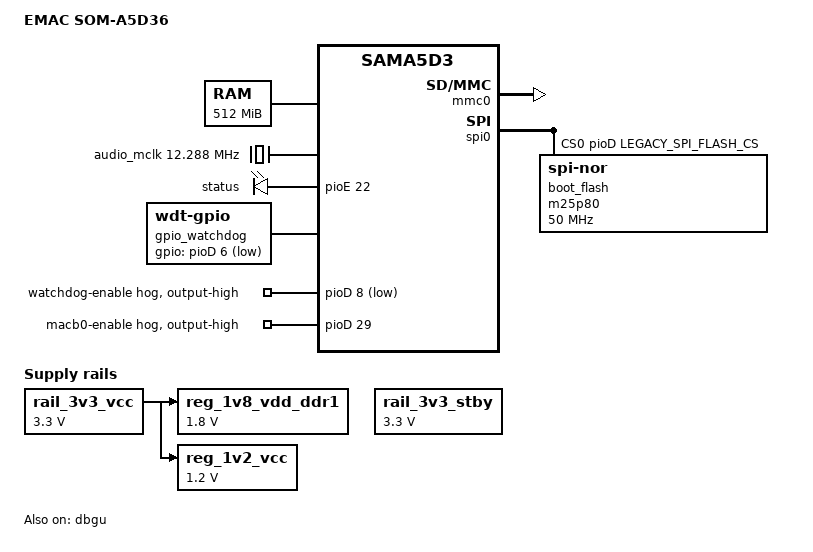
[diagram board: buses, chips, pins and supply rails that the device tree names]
// SPDX-License-Identifier: GPL-2.0-or-later
/*
 * som-a5d36-bare.dtsi - Device Tree Include file for the SOM-A5D36.
 *
 * Copyright (C) 2023 EMAC Inc.
 *
 */

#include "sama5d36.dtsi"
#include <dt-bindings/gpio/gpio.h>

#define LEGACY_SPI_FLASH_CS 	13
#define CURRENT_SPI_FLASH_CS 	14

/ {
	model = "EMAC SOM-A5D36";
	compatible = "emac,soma5d36", "atmel,sama5d36", "atmel,sama5d3", "atmel,sama5";

	chosen {
		stdout-path = &dbgu;
	};

	// 512 MB RAM
	memory@20000000 {
		reg = <0x20000000 0x20000000>;
	};

	clocks {
		#address-cells = <1>;
		#size-cells = <1>;
		ranges;

		slow_xtal {
			clock-frequency = <32768>;
		};

		main_xtal {
			clock-frequency = <12000000>;
		};

		audio_mclk: audio_mclk {
			compatible = "fixed-clock";
			#clock-cells = <0>;
			clock-frequency = <12288000>;
			clock-output-names = "audio-clk";
			gpios = <&pioC 19 GPIO_ACTIVE_HIGH>;
		};

		eth_phy_clk: eth_phy_clk {
			compatible = "fixed-clock";
			#clock-cells = <0>;
			clock-frequency = <25000000>;
			clock-output-names = "phy-clk";
		};
	};

	leds {
		compatible = "gpio-leds";
		status {
			label = "status";
			gpios = <&pioE 22 GPIO_ACTIVE_HIGH>;
			default-state = "on";
		};
	};

	regulators {
		compatible = "simple-bus";
		#address-cells = <1>;
		#size-cells = <0>;

		reg_1v8_vdd_ddr1: reg_1v8_vdd_ddr1 {
			compatible = "regulator-fixed";
			regulator-name = "1V8_VDD_DDR1";
			regulator-min-microvolt = <1800000>;
			regulator-max-microvolt = <1800000>;
			regulator-always-on;
			vin-supply = <&rail_3v3_vcc>;
		};
		reg_1v2_vcc: reg_1v2_vcc {
			compatible = "regulator-fixed";
			regulator-name = "1V2_VCC";
			regulator-min-microvolt = <1200000>;
			regulator-max-microvolt = <1200000>;
			regulator-always-on;
			vin-supply = <&rail_3v3_vcc>;
		};
		rail_3v3_vcc: rail_3v3_vcc {
			compatible = "regulator-fixed";
			regulator-name = "3V3_VCC";
			regulator-min-microvolt = <3300000>;
			regulator-max-microvolt = <3300000>;
			regulator-always-on;
		};
		rail_3v3_stby: rail_3v3_stby {
			compatible = "regulator-fixed";
			regulator-name = "3V3_STBY";
			regulator-min-microvolt = <3300000>;
			regulator-max-microvolt = <3300000>;
			regulator-always-on;
		};
	};

	gpio_watchdog: watchdog {
		/* MAX6747 */
		compatible = "linux,wdt-gpio";
		pinctrl-names = "default";
		pinctrl-0 = <&pinctrl_watchdog>;
		gpios = <&pioD 6 GPIO_ACTIVE_LOW>;
		hw_algo = "level";
		hw_margin_ms = <1000>;
		status = "disabled";
	};
};

&{/ahb/apb/pinctrl@fffff200} {
	watchdog {
		pinctrl_watchdog: pinctrl_watchdog {
			atmel,pins =
				<AT91_PIOD 6 AT91_PERIPH_GPIO AT91_PINCTRL_PULL_UP>;
		};
	};
	usba {
		pinctrl_usba_vbus: pinctrl_usba_vbus {
			atmel,pins =
				<AT91_PIOC 27 AT91_PERIPH_GPIO AT91_PINCTRL_DEGLITCH>;
		};
	};
	spi0 {
		pinctrl_spi0_cs0: spi0-cs0-0 {
			atmel,pins =
				<AT91_PIOD LEGACY_SPI_FLASH_CS AT91_PERIPH_GPIO AT91_PINCTRL_NONE>;
		};
	};
	macb0 {
		pinctrl_macb0_data_mii: macb0_data_mii {
			atmel,pins =
				<AT91_PIOB 0 AT91_PERIPH_A AT91_PINCTRL_NONE	/* PB0 periph A GTX0, conflicts with PWMH0 */
				AT91_PIOB 1 AT91_PERIPH_A AT91_PINCTRL_NONE	/* PB1 periph A GTX1, conflicts with PWML0 */
				AT91_PIOB 2 AT91_PERIPH_A AT91_PINCTRL_NONE	/* PB2 periph A GTX2, conflicts with TK1 */
				AT91_PIOB 3 AT91_PERIPH_A AT91_PINCTRL_NONE	/* PB3 periph A GTX3, conflicts with TF1 */
				AT91_PIOB 4 AT91_PERIPH_A AT91_PINCTRL_NONE	/* PB4 periph A GRX0, conflicts with PWMH1 */
				AT91_PIOB 5 AT91_PERIPH_A AT91_PINCTRL_NONE	/* PB5 periph A GRX1, conflicts with PWML1 */
				AT91_PIOB 6 AT91_PERIPH_A AT91_PINCTRL_NONE	/* PB6 periph A GRX2, conflicts with TD1 */
				AT91_PIOB 7 AT91_PERIPH_A AT91_PINCTRL_NONE>;	/* PB7 periph A GRX3, conflicts with RK1 */
		};
		pinctrl_macb0_signal_mii: macb0_signal_mii {
			atmel,pins =
				<AT91_PIOB 8 AT91_PERIPH_A AT91_PINCTRL_NONE	/* PB8 periph A GTXCK, conflicts with PWMH2 */
				AT91_PIOB 9 AT91_PERIPH_A AT91_PINCTRL_NONE	/* PB9 periph A GTXEN, conflicts with PWML2 */
				AT91_PIOB 10 AT91_PERIPH_A AT91_PINCTRL_NONE	/* PB10 periph A GTXER, conflicts with RF1 */
				AT91_PIOB 11 AT91_PERIPH_A AT91_PINCTRL_NONE	/* PB11 periph A GRXCK, conflicts with RD1 */
				AT91_PIOB 12 AT91_PERIPH_A AT91_PINCTRL_NONE	/* PB12 periph A GRXDV, conflicts with PWMH3 */
				AT91_PIOB 13 AT91_PERIPH_A AT91_PINCTRL_NONE	/* PB13 periph A GRXER, conflicts with PWML3 */
				AT91_PIOB 14 AT91_PERIPH_A AT91_PINCTRL_NONE	/* PB14 periph A GCRS, conflicts with CANRX1 */
				AT91_PIOB 15 AT91_PERIPH_A AT91_PINCTRL_NONE	/* PB15 periph A GCOL, conflicts with CANTX1 */
				AT91_PIOB 16 AT91_PERIPH_A AT91_PINCTRL_NONE	/* PB16 periph A GMDC */
				AT91_PIOB 17 AT91_PERIPH_A AT91_PINCTRL_NONE>;	/* PB17 periph A GMDIO */
		};
	};
};

&pioD {
	gpio_watchdog_en: watchdog-enable {
		gpio-hog;
		gpios = <8 GPIO_ACTIVE_LOW>;
		output-high;
		/* LOW - enabled , HIGH - disabled */
		line-name = "watchdog-enable";
	};
	gpio_macb0_en: macb0-enable {
		gpio-hog;
		gpios = <29 GPIO_ACTIVE_HIGH>;
		output-high;
		line-name = "macb0-enable";
	};
};

&macb0 {
	phy-handle = <&ethphy1>;
	phy-mode = "rgmii";
	status = "disabled";
	#address-cells = <1>;
	#size-cells = <0>;
	ethphy1: ethernet-phy@1 {
		reg = <1>;
	};
};

&mmc0 {
	pinctrl-names = "default";
	pinctrl-0 = <&pinctrl_mmc0_clk_cmd_dat0 &pinctrl_mmc0_dat1_3>;
	status = "okay";
	slot@0 {
		reg = <0>;
		bus-width = <4>;
		non-removable;
		no-1-8-v;
	};
};

&i2c0 {
	status = "disabled";
	clock-frequency = <400000>;
	
	eeprom: atmel@50 {
		compatible = "atmel,24c02";
		reg = <0x50>;
		status = "disabled";
	};
};

&spi0 {
	dmas = <0>, <0>;	/*  Do not use DMA for spi0 */
	num-cs = <1>;
	pinctrl-0 = <&pinctrl_spi0 &pinctrl_spi0_cs0>;
	cs-gpios = <&pioD LEGACY_SPI_FLASH_CS 0>;
	status = "okay";
	boot_flash: m25p80@0 {
		compatible = "jedec,spi-nor";
		spi-max-frequency = <50000000>;
		reg = <0>;
	};
};

&usb0 {
	atmel,vbus-gpio = <&pioC 27 GPIO_ACTIVE_HIGH>;
	pinctrl-names = "default";
	pinctrl-0 = <&pinctrl_usba_vbus>;
	status = "disabled";
};

&usb1 {
	num-ports = <3>;
	status = "disabled";
};

// Enable Watchdog
&gpio_watchdog {
	status = "okay";
};
&gpio_watchdog_en {
	output-low;
	/* LOW - enabled , HIGH - disabled */
};


// COM B
&dbgu {
	dmas = <0>, <0>;	/*  Do not use DMA for dbgu */
	status = "okay";
};

&hlcdc {
	atmel,vl-bpix = <4>;
	atmel,output-mode = <24>;
	atmel,guard-time = <1>;
	pinctrl-names = "default";
	pinctrl-0 = <&pinctrl_lcd_base &pinctrl_lcd_pwm &pinctrl_lcd_rgb888>;
	status = "disabled";
	bootph-all;

	display-timings {
		bootph-all;
		800x480 {
			clock-frequency = <24000000>;
			hactive = <800>;
			vactive = <480>;
			hsync-len = <5>;
			hfront-porch = <64>;
			hback-porch = <64>;
			vfront-porch = <22>;
			vback-porch = <21>;
			vsync-len = <5>;
			bootph-all;
		};
	};
};
